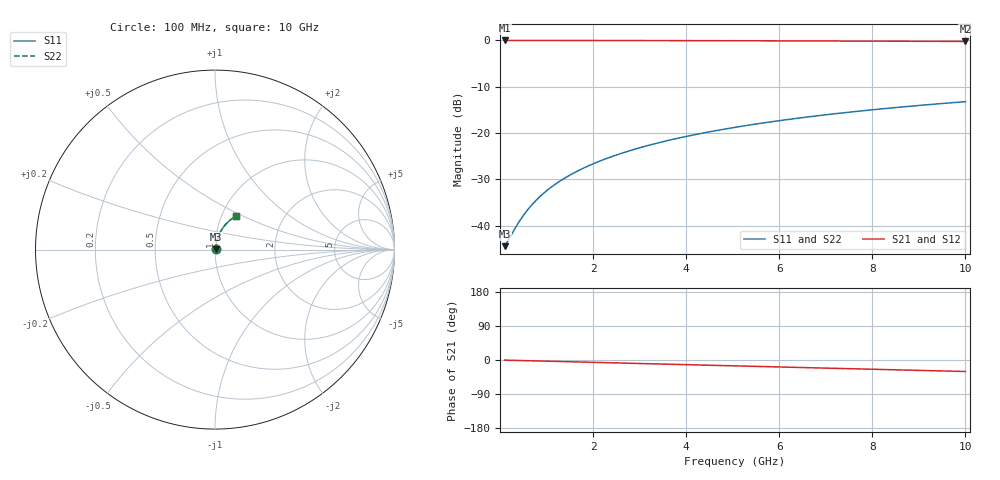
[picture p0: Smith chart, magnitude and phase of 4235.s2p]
# Hz S RI R 50.00
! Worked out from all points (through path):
!   100 points, 100 MHz to 10 GHz, reference 50 ohm
!   highest |S21| = -0.05 dB at 100 MHz (marker M1); lowest = -0.3 dB at 10 GHz (marker M2)
!   group delay of S21, straight-line fit = 8.44 ps
!   lowest |S11| = -44.4 dB at 100 MHz (marker M3), VSWR 1.01, Z = 50.6 + j0.231 ohm
!   |S11| at or under -10 dB: start of sweep to end of sweep
!   |S22| runs from -44.4 to -13.2 dB; largest |S21 - S12| = 0
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1e8  0.00558 0.00228  0.9944 -0.00534  0.9944 -0.00534  0.00558 0.00228
2e8  0.00566 0.00457  0.9943 -0.0107  0.9943 -0.0107  0.00566 0.00457
4e8  0.00585 0.00913  0.9941 -0.0214  0.9941 -0.0214  0.00585 0.00913
5e8  0.00598 0.0114  0.9939 -0.0267  0.9939 -0.0267  0.00598 0.0114
6e8  0.00613 0.0137  0.9937 -0.032  0.9937 -0.032  0.00613 0.0137
7e8  0.0063 0.016  0.9934 -0.0374  0.9934 -0.0374  0.0063 0.016
8e8  0.0065 0.0182  0.9932 -0.0427  0.9932 -0.0427  0.0065 0.0182
1e9  0.00696 0.0228  0.9925 -0.0533  0.9925 -0.0533  0.00696 0.0228
1.2e9  0.00752 0.0273  0.9918 -0.064  0.9918 -0.064  0.00752 0.0273
1.5e9  0.00854 0.0341  0.9904 -0.0799  0.9904 -0.0799  0.00854 0.0341
1.8e9  0.00977 0.0408  0.9887 -0.0958  0.9887 -0.0958  0.00977 0.0408
2.1e9  0.0112 0.0475  0.9867 -0.1117  0.9867 -0.1117  0.0112 0.0475
2.5e9  0.0135 0.0563  0.9835 -0.1327  0.9835 -0.1327  0.0135 0.0563
2.9e9  0.0161 0.065  0.9799 -0.1537  0.9799 -0.1537  0.0161 0.065
3.4e9  0.0199 0.0757  0.9746 -0.1797  0.9746 -0.1797  0.0199 0.0757
4.2e9  0.0271 0.0924  0.9644 -0.2208  0.9644 -0.2208  0.0271 0.0924
5.1e9  0.0369 0.1102  0.9507 -0.2661  0.9507 -0.2661  0.0369 0.1102
5.9e9  0.047 0.1252  0.9364 -0.3055  0.9364 -0.3055  0.047 0.1252
6.7e9  0.0582 0.1391  0.9204 -0.3439  0.9204 -0.3439  0.0582 0.1391
7.5e9  0.0705 0.1521  0.9026 -0.3813  0.9026 -0.3813  0.0705 0.1521
8.4e9  0.0856 0.1653  0.8806 -0.422  0.8806 -0.422  0.0856 0.1653
1e10  0.1148 0.1849  0.837 -0.4903  0.837 -0.4903  0.1148 0.1849
